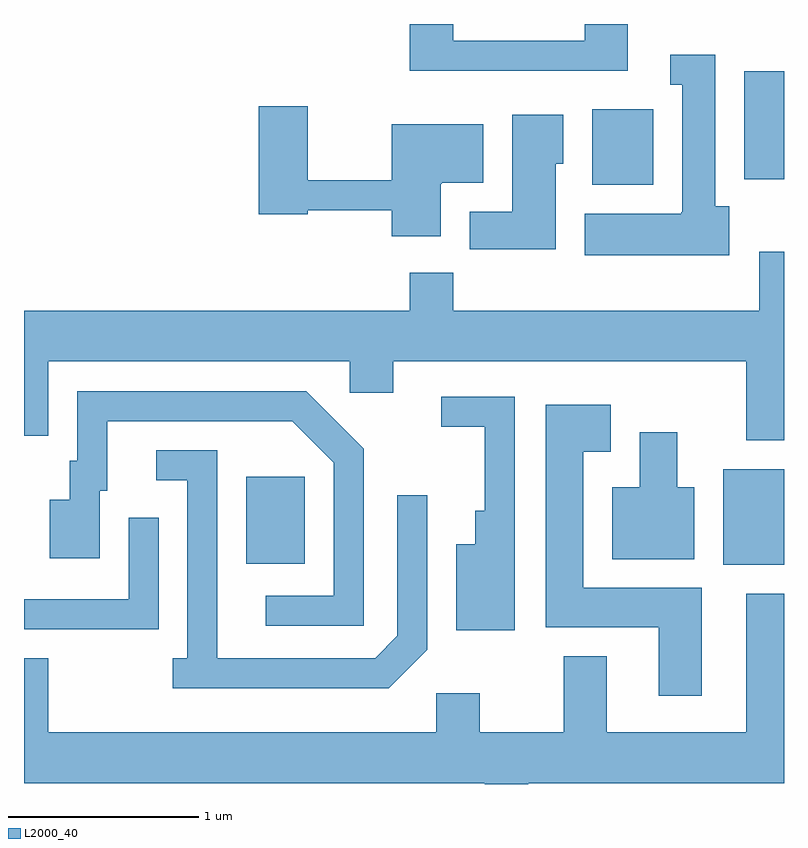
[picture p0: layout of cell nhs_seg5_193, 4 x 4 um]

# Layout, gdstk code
import gdstk
lib = gdstk.Library(unit=1e-6, precision=1e-09)
def R(c, l, rs):  # rectangles x0, y0, x1, y1
    for r in rs: c.add(gdstk.rectangle(r[:2], r[2:], *l))
def P(c, l, *ps):  # polygons
    for p in ps: c.add(gdstk.Polygon(p, *l))
L2000_40 = (2000, 40)

nhs_seg5_193 = lib.new_cell('nhs_seg5_193')
R(nhs_seg5_193, L2000_40, [(193.291,1511.226,193.611,1511.729), (190.781,1511.231,191.089,1511.689), (192.601,1513.226,192.924,1513.624), (193.401,1513.256,193.611,1513.824)])
P(nhs_seg5_193, L2000_40, [(192.789,1514.072),(192.561,1514.072),(192.561,1513.984),(191.869,1513.984),(191.869,1514.072),(191.641,1514.072),(191.641,1513.826),(192.789,1513.826)],
  [(193.324,1513.114),(193.249,1513.114),(193.249,1513.909),(193.013,1513.909),(193.013,1513.751),(193.076,1513.751),(193.076,1513.08),(193.07,1513.08),(193.07,1513.074),(192.561,1513.074),(192.561,1512.856),(193.324,1512.856)],
  [(191.804,1513.23),(191.81,1513.23),(191.81,1513.236),(192.029,1513.236),(192.029,1513.544),(191.546,1513.544),(191.546,1513.249),(191.104,1513.249),(191.104,1513.639),(190.846,1513.639),(190.846,1513.071),(191.104,1513.071),(191.104,1513.091),(191.546,1513.091),(191.546,1512.956),(191.804,1512.956)],
  [(192.409,1513.336),(192.449,1513.336),(192.449,1513.594),(192.181,1513.594),(192.181,1513.084),(191.956,1513.084),(191.956,1512.886),(192.409,1512.886)],
  [(193.611,1512.874),(193.481,1512.874),(193.481,1512.564),(191.869,1512.564),(191.869,1512.764),(191.641,1512.764),(191.641,1512.564),(189.611,1512.564),(189.611,1511.906),(189.739,1511.906),(189.739,1512.296),(191.326,1512.296),(191.326,1512.131),(191.554,1512.131),(191.554,1512.296),(193.411,1512.296),(193.411,1511.881),(193.611,1511.881)],
  [(191.399,1511.837),(191.097,1512.139),(189.891,1512.139),(189.891,1511.774),(189.851,1511.774),(189.851,1511.569),(189.746,1511.569),(189.746,1511.261),(190.009,1511.261),(190.009,1511.616),(190.049,1511.616),(190.049,1511.981),(191.024,1511.981),(191.241,1511.764),(191.241,1511.064),(190.883,1511.064),(190.883,1510.906),(191.399,1510.906)],
  [(192.194,1512.109),(191.808,1512.109),(191.808,1511.951),(192.036,1511.951),(192.036,1511.509),(191.986,1511.509),(191.986,1511.334),(191.886,1511.334),(191.886,1510.881),(192.194,1510.881)],
  [(193.179,1511.104),(192.554,1511.104),(192.554,1511.821),(192.699,1511.821),(192.699,1512.069),(192.356,1512.069),(192.356,1510.896),(192.951,1510.896),(192.951,1510.536),(193.179,1510.536)],
  [(193.139,1511.634),(193.049,1511.634),(193.049,1511.924),(192.851,1511.924),(192.851,1511.634),(192.706,1511.634),(192.706,1511.256),(193.139,1511.256)],
  [(191.734,1510.779),(191.734,1511.593),(191.576,1511.593),(191.576,1510.852),(191.459,1510.734),(190.629,1510.734),(190.629,1511.829),(190.308,1511.829),(190.308,1511.671),(190.471,1511.671),(190.471,1510.734),(190.393,1510.734),(190.393,1510.576),(191.532,1510.576)],
  [(190.319,1511.473),(190.161,1511.473),(190.161,1511.044),(189.611,1511.044),(189.611,1510.886),(190.319,1510.886)],
  [(192.264,1510.076),(193.611,1510.076),(193.611,1511.074),(193.411,1511.074),(193.411,1510.344),(192.679,1510.344),(192.679,1510.744),(192.451,1510.744),(192.451,1510.344),(192.009,1510.344),(192.009,1510.549),(191.781,1510.549),(191.781,1510.344),(189.739,1510.344),(189.739,1510.734),(189.611,1510.734),(189.611,1510.076),(192.036,1510.076),(192.036,1510.072),(192.264,1510.072)])

lib.write_gds('nhs_seg5_193.gds')
